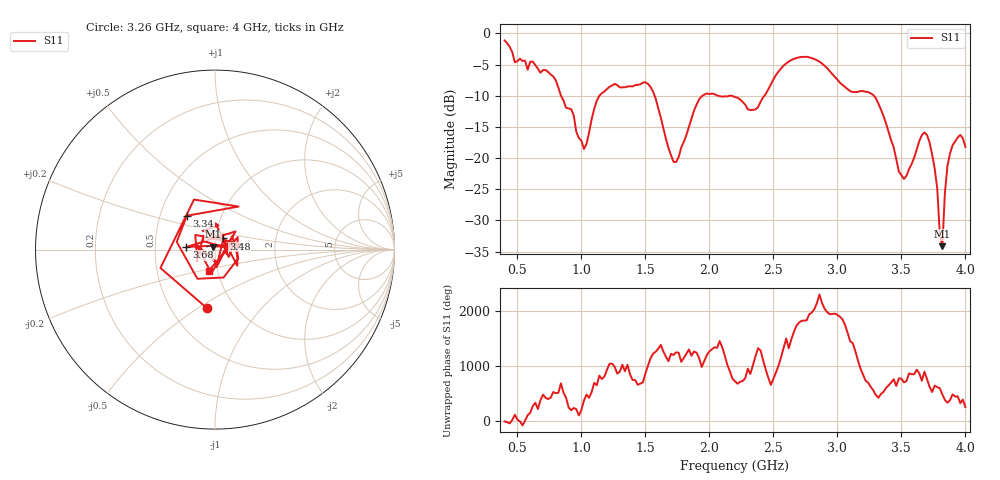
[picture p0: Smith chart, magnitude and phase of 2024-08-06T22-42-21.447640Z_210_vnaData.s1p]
!Created with skrf (http://scikit-rf.org).
# Hz S RI R 50.0
!freq ReS11 ImS11
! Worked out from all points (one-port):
!   181 points, 400 MHz to 4 GHz, reference 50 ohm
!   lowest |S11| = -34.1 dB at 3.82 GHz (marker M1), VSWR 1.04, Z = 48.9 + j1.62 ohm
!   |S11| at or under -10 dB: 840.3 MHz to 1.141 GHz (300.5 MHz wide, 30.3 % of centre); 1.572 GHz to 1.947 GHz (375.1 MHz wide, 21.3 % of centre); 3.285 GHz to end of sweep (the widest 3 of 5)
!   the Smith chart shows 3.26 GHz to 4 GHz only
!   S11 on the Smith chart (normalised r, x): 3.26 GHz: 0.74, -0.55; 3.34 GHz: 0.68, +0.27; 3.48 GHz: 1.09, +0.14; 3.68 GHz: 0.72, +0.02; 4 GHz: 0.91, -0.22
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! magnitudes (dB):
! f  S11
! 400 MHz  -1.1
! 480 MHz  -4.6
! 780 MHz  -6.9
! 860 MHz  -10.8
! 1.02 GHz  -18.6
! 1.14 GHz  -10.0
! 1.3 GHz  -8.7
! 1.52 GHz  -8.1
! 1.72 GHz  -20.6
! 1.76 GHz  -19.8
! 1.94 GHz  -10.1
! 2.2 GHz  -10.2
! 2.36 GHz  -12.2
! 2.66 GHz  -4.1
! 3.1 GHz  -9.3
! 3.26 GHz  -9.6
! 3.34 GHz  -12.2
! 3.48 GHz  -22.2
! 3.56 GHz  -21.8
! 3.68 GHz  -15.9
! 3.76 GHz  -21.7
! 3.78 GHz  -24.9
! 3.8 GHz  -32.2
! 3.82 GHz  -34.1
! 3.84 GHz  -25.6
! 3.88 GHz  -19.3
! 3.96 GHz  -16.3
! 4 GHz  -18.2
